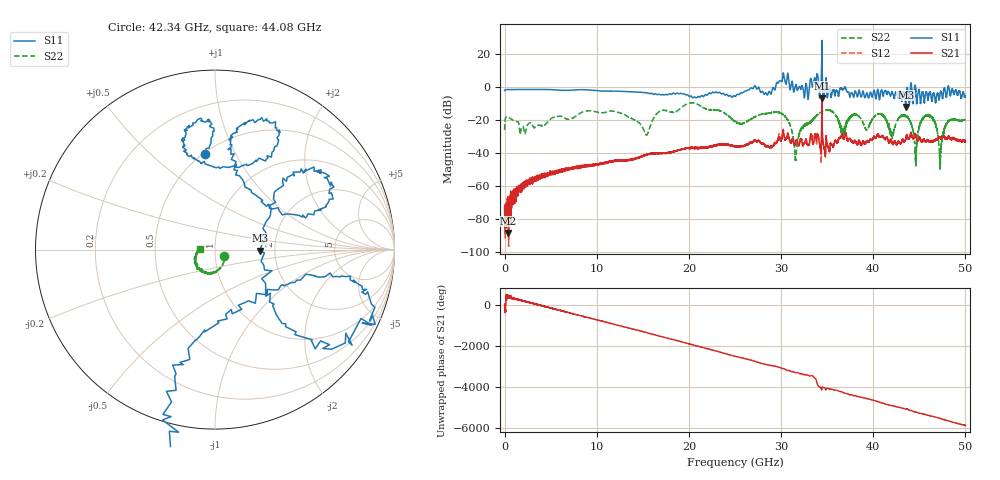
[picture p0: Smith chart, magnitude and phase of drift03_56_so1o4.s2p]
!Created with skrf (http://scikit-rf.org).
# Hz S RI R 50.0
!freq ReS11 ImS11 ReS21 ImS21 ReS12 ImS12 ReS22 ImS22
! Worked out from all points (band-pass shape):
!   10000 points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, 5.3 MHz to 50 GHz, reference 50 ohm
!   highest |S21| = -6.75 dB at 34.43 GHz (marker M1); lowest = -88.4 dB at 425.3 MHz (marker M2)
!   |S21| within 3 dB of the highest: 34.42748 GHz to 34.43514 GHz (7.668 MHz wide, 0.0223 % of centre)
!   lowest |S11| = -12.0 dB at 43.52 GHz (marker M3), VSWR 1.67, Z = 83.4 - j0.908 ohm
!   |S11| at or under -10 dB: 43.48681 GHz to 43.54239 GHz (55.58 MHz wide, 0.128 % of centre); 43.54846 GHz to 43.55158 GHz (3.122 MHz wide, 0.00717 % of centre); 44.31502 GHz to 44.31504 GHz (17.56 kHz wide, 3.96e-05 % of centre) (the widest 3 of 4)
!   |S22| runs from -49.7 to -9.4 dB; largest |S21 - S12| = 0.13
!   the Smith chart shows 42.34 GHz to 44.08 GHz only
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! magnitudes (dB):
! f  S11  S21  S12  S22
! 5.3 MHz  -2.1  -74.1  -73.4  -25.8
! 425.3 MHz  -1.4  -88.4  -76.4  -18.4
! 2.955 GHz  -1.4  -56.5  -56.5  -22.1
! 8.34 GHz  -1.5  -48.1  -48.0  -15.3
! 15.4 GHz  -3.4  -40.9  -41.0  -28.9
! 16.67 GHz  -4.4  -40.0  -40.2  -15.3
! 20.47 GHz  -6.5  -36.7  -36.9  -9.5
! 25.01 GHz  -5.5  -35.7  -36.1  -20.8
! 29.93 GHz  4.0  -32.5  -31.8  -15.6
! 31.59 GHz  1.4  -33.8  -34.0  -44.4
! 33.34 GHz  2.7  -30.1  -30.5  -20.4
! 34.43 GHz  28.4  -6.8  -8.6  -14.5
! 36.69 GHz  -1.3  -29.7  -29.8  -27.2
! 37.97 GHz  -3.2  -32.2  -32.5  -16.3
! 41.67 GHz  -2.9  -33.3  -33.2  -23.1
! 43.52 GHz  -12.0  -31.3  -31.4  -17.5
! 44.61 GHz  -1.6  -29.4  -29.1  -43.2
! 45.3 GHz  -3.3  -33.4  -33.3  -19.8
! 46.28 GHz  -5.6  -32.6  -32.9  -17.7
! 47.29 GHz  -3.0  -30.6  -30.8  -46.0
! 48.12 GHz  0.4  -30.0  -30.2  -21.0
! 50 GHz  -5.3  -32.6  -32.6  -19.6
